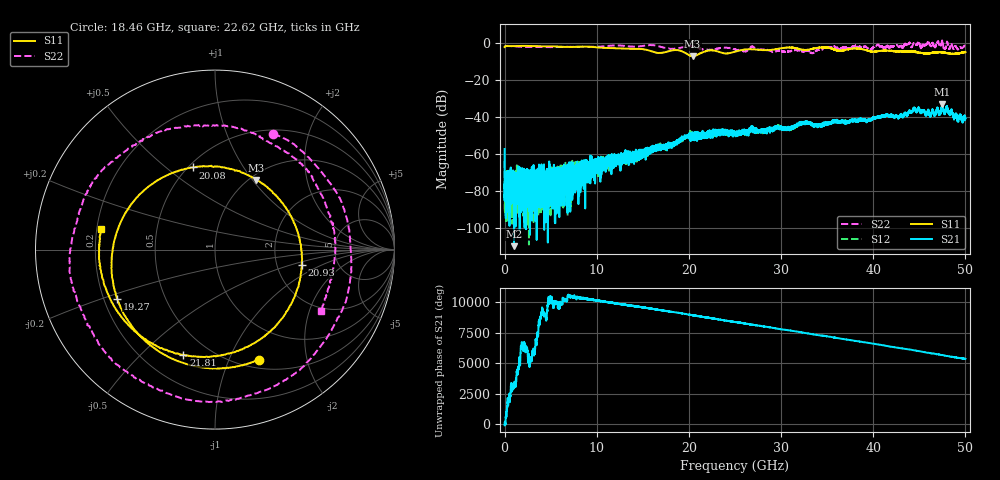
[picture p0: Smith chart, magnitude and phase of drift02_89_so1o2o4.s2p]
!Created with skrf (http://scikit-rf.org).
# Hz S RI R 50.0
!freq ReS11 ImS11 ReS21 ImS21 ReS12 ImS12 ReS22 ImS22
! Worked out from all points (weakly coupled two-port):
!   10001 points, 300 kHz to 50 GHz, reference 50 ohm
!   highest |S21| = -32.82 dB at 47.51 GHz (marker M1); lowest = -110.0 dB at 1.02 GHz (marker M2)
!   lowest |S11| = -6.9 dB at 20.4 GHz (marker M3), VSWR 2.64, Z = 53.5 + j52 ohm
!   |S11| at or under -10 dB: nowhere
!   |S22| runs from -5.3 to 1.6 dB; largest |S21 - S12| = 0.0041
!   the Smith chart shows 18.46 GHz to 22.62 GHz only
!   S11 on the Smith chart (normalised r, x): 18.46 GHz: 0.60, -1.29; 19.27 GHz: 0.25, -0.22; 20.08 GHz: 0.53, +0.62; 20.93 GHz: 2.77, -0.64; 21.81 GHz: 0.36, -0.68; 22.62 GHz: 0.22, +0.09
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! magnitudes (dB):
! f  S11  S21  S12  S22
! 300 kHz  -2.0  -57.3  -63.6  -1.3
! 255.3 MHz  -1.4  -70.1  -75.0  -1.4
! 1.02 GHz  -1.5  -110.0  -72.4  -1.6
! 4.955 GHz  -1.6  -71.2  -71.3  -2.0
! 5.805 GHz  -1.7  -69.2  -81.6  -2.0
! 8.335 GHz  -1.7  -66.1  -72.6  -1.9
! 16.67 GHz  -5.2  -55.8  -56.6  -1.4
! 18.46 GHz  -3.6  -55.0  -54.3  -2.8
! 19.27 GHz  -4.3  -51.6  -51.6  -2.1
! 20.08 GHz  -6.5  -50.3  -48.6  -1.5
! 20.4 GHz  -6.9  -50.1  -49.9  -1.7
! 20.93 GHz  -6.2  -50.1  -50.2  -2.2
! 21.81 GHz  -4.3  -49.7  -49.0  -3.5
! 22.62 GHz  -3.8  -49.4  -49.0  -3.3
! 25 GHz  -4.5  -48.4  -48.4  -3.2
! 26.11 GHz  -3.3  -48.5  -48.4  -4.3
! 26.9 GHz  -3.2  -46.0  -46.1  -1.6
! 33.34 GHz  -3.0  -43.6  -44.1  -5.2
! 34.89 GHz  -2.2  -43.4  -43.4  -2.2
! 41.67 GHz  -3.9  -39.4  -39.0  -2.1
! 47.51 GHz  -4.8  -32.8  -34.5  1.1
! 50 GHz  -4.7  -40.9  -40.4  -1.5
